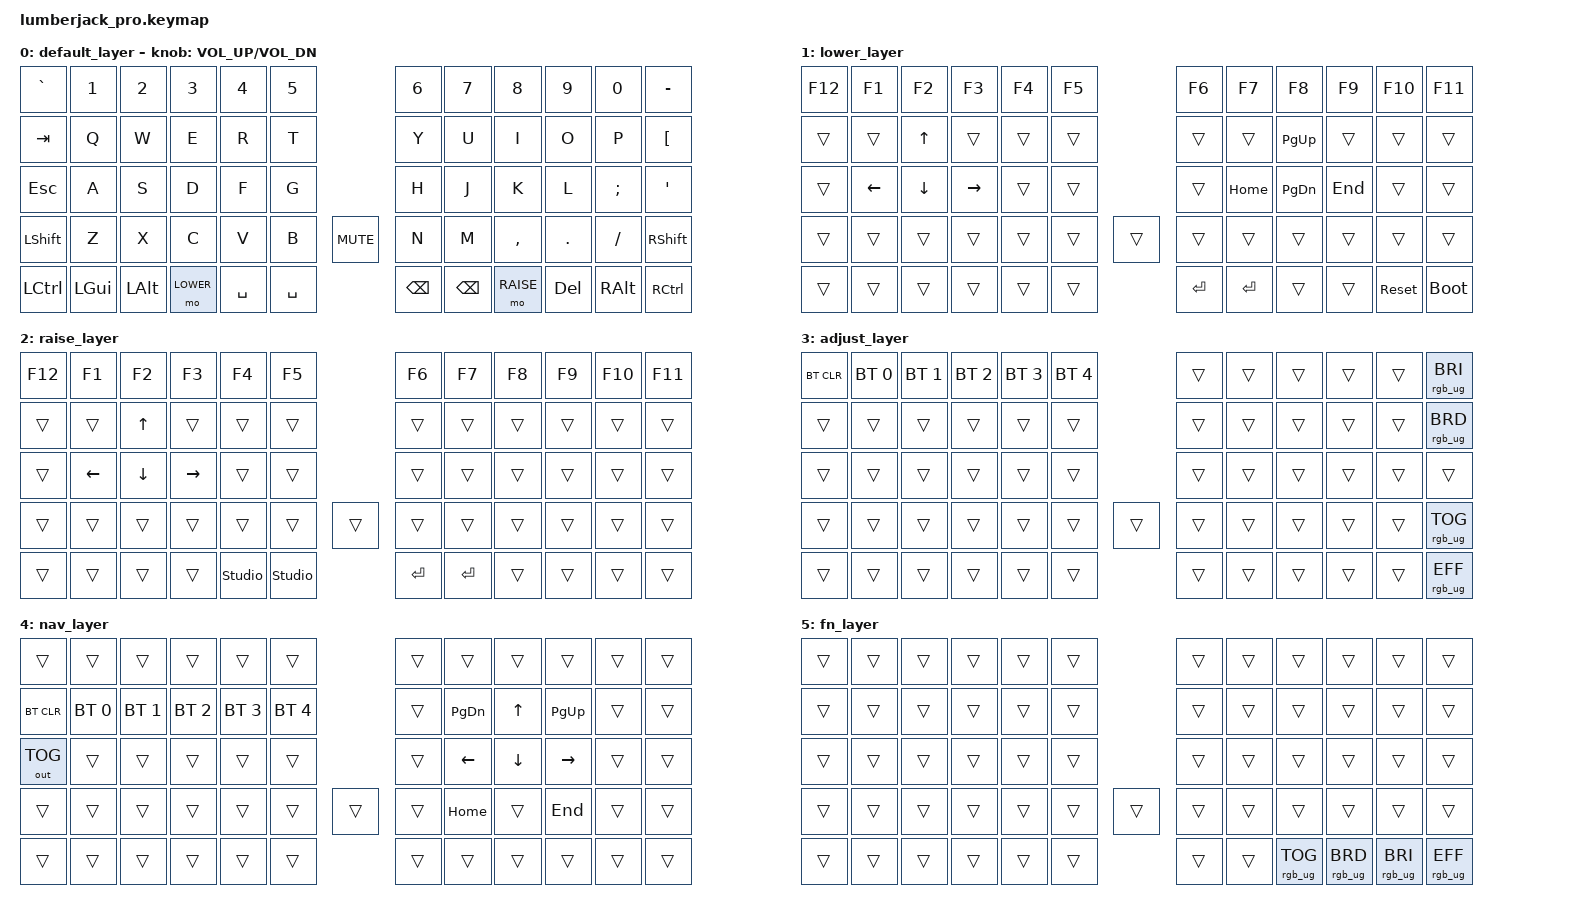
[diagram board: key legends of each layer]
/*
 * Copyright (c) 2021 The ZMK Contributors
 *
 * SPDX-License-Identifier: MIT
 */

#include <behaviors.dtsi>
#include <dt-bindings/zmk/keys.h>
#include <dt-bindings/zmk/bt.h>
#include <dt-bindings/zmk/outputs.h>
#include <dt-bindings/zmk/rgb.h>
#include <dt-bindings/zmk/ext_power.h>

#define BASE 0
#define LOWER 1
#define RAISE 2
#define ADJUST 3
#define NAV 4
#define FN 5

/* Uncomment to enable the encoder */
 &sensors {
     status = "okay";
 };
 &encoder { status = "okay"; };

/ {

    // Activate ADJUST layer by pressing raise and lower
    conditional_layers {
        compatible = "zmk,conditional-layers";
        adjust_layer {
            if-layers = <LOWER RAISE>;
            then-layer = <ADJUST>;
        };
    };

    keymap {
        compatible = "zmk,keymap";

        default_layer {
            // ------------------------------------------------------------------------------------------
            // |  ESC     |  1   |  2   |  3   |  4   |  5   |   6   |  7    |  8   |  9   |   0   | BSPC  |
            // |  TAB     |  Q   |  W   |  E   |  R   |  T   |   Y   |  U    |  I   |  O   |   P   | DEL   |
            // | LCTL/ESC |  A   |  S   |  D   |  F   |  G   |   H   |  J    |  K   |  L   |   ;   |  '    |
            // | SHIFT    |  Z   |  X   |  C   |  V   |  B   |   N   |  M    |  ,   |  .   |   /   | ENTER |
            // |ADJUST | LCTL | LGUI | LALT | LOWR | SPACE| SPACE |  RAIS | LARW | DARW | UARW  | RARW  |

            bindings = <
                &kp GRAVE      &kp N1       &kp N2      &kp N3    &kp N4     &kp N5                      &kp N6     &kp N7     &kp N8      &kp N9      &kp N0      &kp MINUS
                &kp TAB        &kp Q        &kp W       &kp E     &kp R      &kp T                       &kp Y      &kp U      &kp I       &kp O       &kp P       &kp LBKT
                &kp ESC        &kp A        &kp S       &kp D     &kp F      &kp G                       &kp H      &kp J      &kp K       &kp L       &kp SEMI    &kp SQT
                &kp LSHFT      &kp Z        &kp X       &kp C     &kp V      &kp B          &kp C_MUTE   &kp N      &kp M      &kp COMMA   &kp DOT     &kp FSLH    &kp RSHFT
                &kp LCTRL      &kp LGUI     &kp LALT    &mo LOWER &kp SPACE  &kp SPACE                   &kp BSPC   &kp BSPC   &mo RAISE   &kp DEL     &kp RALT    &kp RCTRL
            >;

            sensor-bindings = <&inc_dec_kp C_VOL_UP C_VOL_DN>;
        };

        lower_layer {
            // -------------------------------------------------------------------------------------------
            // |  ESC  |  F2  |  F3  |  F4  |  F5  |  F6  |   F7  |  F8   |  F9  | F10  |  F11  |  F12  |
            // |   ~   |  !   |  @   |  #   |  $   |  %   |   ^   |   &   |  *   |  (   |   )   |  DEL  |
            // |       |  F1  |  F2  |  F3  |  F4  |  F5  |   F6  |   _   |  +   |  {   |   }   |   |   |
            // |       |  F7  |  F8  |  F9  |  F10 |  F11 |   F12 | LS(#) |LS(|) |      |       |       |
            // |       |      |      |      |      |      |       |       | NEXT | Vol- | Vol+ | PLAY   |

            bindings = <
                &kp F12   &kp F1    &kp F2    &kp F3     &kp F4    &kp F5                &kp F6    &kp F7    &kp F8     &kp F9    &kp F10       &kp F11
                &trans    &trans    &kp UP    &trans     &trans    &trans                &trans    &trans    &kp PG_UP  &trans    &trans        &trans
                &trans    &kp LEFT  &kp DOWN  &kp RIGHT  &trans    &trans                &trans    &kp HOME  &kp PG_DN  &kp END   &trans        &trans
                &trans    &trans    &trans    &trans     &trans    &trans     &trans     &trans    &trans    &trans     &trans    &trans        &trans
                &trans    &trans    &trans    &trans     &trans    &trans                &kp RET   &kp RET   &trans     &trans    &sys_reset    &bootloader
            >;
        };

        raise_layer {
            // ------------------------------------------------------------------------------------------
            // |  ESC  |  F2  |  F3  |  F4  |  F5  |  F6  |  F7   |  F8   |  F9  | F10  |  F11  |  F12  |
            // |   ~   |  1   |  2   |  3   |  4   |  5   |  6    |   7   |  8   |  9   |   0   |  DEL  |
            // |  DEL  |  F1  |  F2  |  F3  |  F4  |  F5  |  F6   |   -   |  =   |  [   |   ]   |   \   |
            // |       |  F7  |  F8  |  F9  |  F10 |  F11 |  F12  |   #   |  |   |      |       |       |
            // |       |      |      |      |      |      |       |       |       |      |      |       |

            bindings = <
                &kp F12   &kp F1    &kp F2    &kp F3     &kp F4          &kp F5                &kp F6    &kp F7    &kp F8    &kp F9    &kp F10   &kp F11
                &trans    &trans    &kp UP    &trans     &trans          &trans                &trans    &trans    &trans    &trans    &trans    &trans
                &trans    &kp LEFT  &kp DOWN  &kp RIGHT  &trans          &trans                &trans    &trans    &trans    &trans    &trans    &trans
                &trans    &trans    &trans    &trans     &trans          &trans     &trans     &trans    &trans    &trans    &trans    &trans    &trans
                &trans    &trans    &trans    &trans     &studio_unlock  &studio_unlock        &kp RET   &kp RET   &trans    &trans    &trans    &trans
            >;
        };

        adjust_layer {
            // ------------------------------------------------------------------------------------------
            // |tog(4)|  F2  |  F3  |  F4  |  F5  |  F6  |  F7  |  F8  |  F9  |  F10 |  F11 |    F12    |
            // |      |  NA  |  NA  |  NA  |  NA  |  NA  |  NA  |  NA  |  NA  |  NA  |  NA  |LALT(PRTSN)|
            // |      |  NA  |  NA  |  NA  |  NA  |  NA  |  NA  |  NA  |  NA  |  NA  |  NA  |   PRTSN   |
            // |      |  NA  |  NA  |  NA  |  NA  |  NA  |  NA  |  NA  |  NA  |  NA  |  NA  |LCTRL(DEL) |
            // |      |      |      |      |      |BOOTLD|BOOTLD|      |      |      |      |           |

            bindings = <
                &bt BT_CLR   &bt BT_SEL 0 &bt BT_SEL 1 &bt BT_SEL 2 &bt BT_SEL 3 &bt BT_SEL 4      &trans    &trans    &trans    &trans    &trans    &rgb_ug RGB_BRI
                &trans       &trans       &trans       &trans       &trans       &trans            &trans    &trans    &trans    &trans    &trans    &rgb_ug RGB_BRD
                &trans       &trans       &trans       &trans       &trans       &trans            &trans    &trans    &trans    &trans    &trans    &trans
                &trans       &trans       &trans       &trans       &trans       &trans   &trans   &trans    &trans    &trans    &trans    &trans    &rgb_ug RGB_TOG
                &trans       &trans       &trans       &trans       &trans       &trans            &trans    &trans    &trans    &trans    &trans    &rgb_ug RGB_EFF
            >;
        };

        nav_layer {
            // ----------------------------------------------------------------------------------------------
            // |tog(4) |  F2    |   F3   |   F4   |   F5   |   F6   |  F7  |  F8  |  F9  | F10 | F11 |      |
            // |out tog|BT_SEL 0|BT_SEL 1|BT_SEL 2|BT_SEL 3|BT_SEL 4|BT_PRV|BT_NXT|BT_CLR|     |     |      |
            // |       |        |        |        |        |        |      |      |      |     |     |      |
            // |       |        |        |        |        |        |      |      |      |     |     |      |
            // |       |        |        |        |        |        |      |      |      |     |     |      |

            bindings = <
                &trans       &trans       &trans       &trans       &trans       &trans                    &trans     &trans     &trans     &trans     &trans  &trans
                &bt BT_CLR   &bt BT_SEL 0 &bt BT_SEL 1 &bt BT_SEL 2 &bt BT_SEL 3 &bt BT_SEL 4              &trans     &kp PG_DN  &kp UP     &kp PG_UP  &trans  &trans
                &out OUT_TOG &trans       &trans       &trans       &trans       &trans                    &trans     &kp LEFT   &kp DOWN   &kp RIGHT  &trans  &trans
                &trans       &trans       &trans       &trans       &trans       &trans       &trans       &trans     &kp HOME   &trans     &kp END    &trans  &trans
                &trans       &trans       &trans       &trans       &trans       &trans                    &trans     &trans     &trans     &trans     &trans  &trans
            >;
        };

        fn_layer {
            // ----------------------------------------------------------------------------------------------
            // |tog(4) |  F2    |   F3   |   F4   |   F5   |   F6   |  F7  |  F8  |  F9  | F10 | F11 |      |
            // |out tog|BT_SEL 0|BT_SEL 1|BT_SEL 2|BT_SEL 3|BT_SEL 4|BT_PRV|BT_NXT|BT_CLR|     |     |      |
            // |       |        |        |        |        |        |      |      |      |     |     |      |
            // |       |        |        |        |        |        |      |      |      |     |     |      |
            // |       |        |        |        |        |        |      |      |      |     |     |      |

            bindings = <
                &trans       &trans       &trans       &trans       &trans       &trans                    &trans     &trans     &trans     &trans     &trans  &trans
                &trans       &trans       &trans       &trans       &trans       &trans                    &trans     &trans     &trans     &trans     &trans  &trans
                &trans       &trans       &trans       &trans       &trans       &trans                    &trans     &trans     &trans     &trans     &trans  &trans
                &trans       &trans       &trans       &trans       &trans       &trans       &trans       &trans     &trans     &trans     &trans     &trans  &trans
                &trans       &trans       &trans       &trans       &trans       &trans                    &trans     &trans     &rgb_ug RGB_TOG  &rgb_ug RGB_BRD  &rgb_ug RGB_BRI  &rgb_ug RGB_EFF
            >;
         };
    };
};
